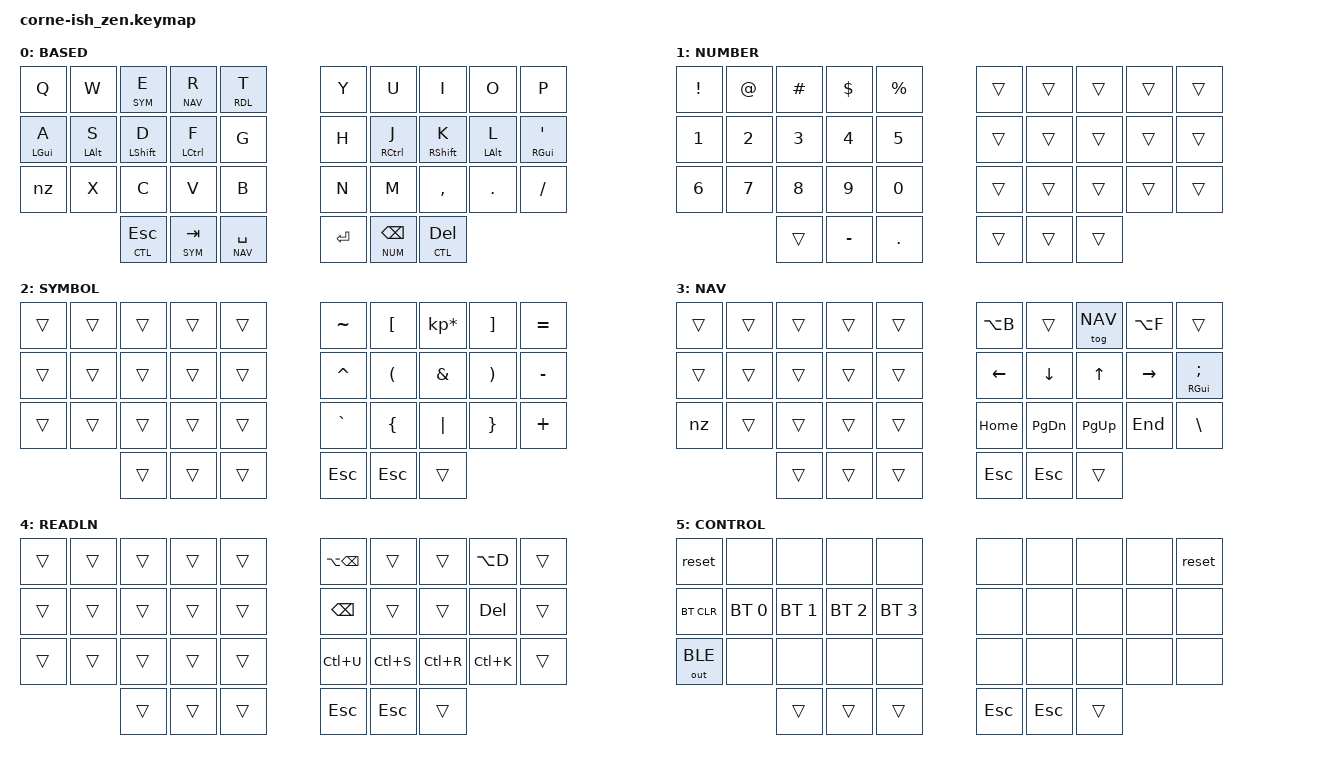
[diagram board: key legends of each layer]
/*
*
* Copyright (c) 2021 Darryl deHaan
* SPDX-License-Identifier: MIT
*
*/

#include <behaviors.dtsi>
#include <dt-bindings/zmk/keys.h>
#include <dt-bindings/zmk/bt.h>
#include <dt-bindings/zmk/outputs.h>

#define ___ &trans
#define KP_STAR KP_MULTIPLY

#define BASE 0
#define NUM 1
#define SYM 2
#define NAV 3
#define RDL 4
#define CTL 5

&kscan0 {
    debounce-period = <20>;
};

&lt {
    quick_tap_ms = <150>;
};

&caps_word {
    continue-list = <UNDERSCORE MINUS BACKSPACE DELETE HOME END LEFT RIGHT>;
};

/ {
        chosen {
            zmk,matrix_transform = &five_column_transform;
        };
};


/ {

        #include "combos.dtsi"

        behaviors {

            nz: backspace_delete {
                compatible = "zmk,behavior-mod-morph";
                label = "NAV_OR_Z";
                #binding-cells = <0>;
                bindings = <&kp Z>, <&tog NAV>;
                mods = <(MOD_RGUI)>;
            };

            hm: homerow_mods {
                compatible = "zmk,behavior-hold-tap";
                label = "HOMEROW_MODS";
                #binding-cells = <2>;
                tapping-term-ms = <180>;
                quick_tap_ms = <0>;
                flavor = "tap-preferred";
                bindings = <&kp>, <&kp>;
            };
        };

        keymap {
                compatible = "zmk,keymap";

    base_layer {
      label = "BASED";
      bindings = <
        // ╭─────────────┬──────────────┬─────────────┬─────────────┬─────────────╮   ╭─────────────┬─────────────┬─────────────┬─────────────┬─────────────╮
             &kp Q          &kp W          &lt SYM E     &lt NAV R     &lt RDL T         &kp Y        &kp U         &kp I         &kp O         &kp P
        // ├─────────────┼──────────────┼─────────────┼─────────────┼─────────────┤   ├─────────────┼─────────────┼─────────────┼─────────────┼─────────────┤
             &hm LGUI A     &hm LALT S     &hm LSHFT D   &hm LCTRL F   &kp G             &kp H        &hm RCTRL J   &hm RSHFT K   &hm LALT L    &hm RGUI SQT
        // ├─────────────┼──────────────┼─────────────┼─────────────┼─────────────┤   ├─────────────┼─────────────┼─────────────┼─────────────┼─────────────┤
             &nz            &kp X          &kp C         &kp V         &kp B             &kp N        &kp M         &kp COMMA     &kp DOT       &kp FSLH
        // ╰─────────────┴───────── ────┴─────────────┼─────────────┼─────────────┤   ├─────────────┼─────────────┼─────────────┴─────────────┴─────────────╯
                                           &lt CTL ESC   &lt SYM TAB &lt NAV SPACE       &kp RET      &lt NUM BSPC  &lt CTL DEL
        //                              ╰─────────────┴─────────────┴─────────────╯   ╰─────────────┴─────────────┴─────────────╯
      >;
    };

    number_layer {
      label = "NUMBER";
      bindings = <
        // ╭───── ───────┬──────────────┬─────────────┬─────────────┬─────────────╮   ╭─────────── ─┬─────────────┬─────────────┬─────────────┬─────────────╮
             &kp EXCL       &kp AT         &kp HASH      &kp DLLR      &kp PRCNT          ___           ___           ___           ___          ___
        // ├─────────────┼──────────────┼─────────────┼─────────────┼─────────────┤   ├─────────────┼─────────────┼─────────────┼─────────────┼─────────────┤
             &kp N1         &kp N2         &kp N3        &kp N4        &kp N5             ___           ___           ___           ___          ___
        // ├─────────────┼──────────────┼─────────────┼─────────────┼─────────────┤   ├─────────────┼─────────────┼─────────────┼─────────────┼─────────────┤
             &kp N6         &kp N7         &kp N8        &kp N9        &kp N0             ___           ___           ___           ___          ___
        // ╰─────────────┴─────────── ──┴─────────────┼─────────────┼─────────────┤   ├─────────────┼─────────────┼─────────────┴─────────────┴─────────────╯
                                            ___          &kp MINUS     &kp DOT            ___           ___           ___
        //                              ╰─────────────┴─────────────┴─────────────╯   ╰─────────────┴─────────────┴─────────────╯

      >;
    };

    symbol_layer {
      label = "SYMBOL";
      bindings = <
        // ╭─────────────┬─────────────┬─────────────┬─────────────┬─────────────╮   ╭─────────────┬─────────────┬─────────────┬─────────────┬─────────────╮
             ___           ___           ___           ___           ___               &kp TILDE     &kp LBKT      &kp KP_STAR   &kp RBKT      &kp EQUAL
        // ├─────────────┼─────────────┼─────────────┬─────────────┼─────────────┤   ├─────────────┼─────────────┼─────────────┼─────────────┼─────────────┤
             ___           ___           ___           ___           ___               &kp CARET     &kp LPAR      &kp AMPS      &kp RPAR      &kp MINUS
        // ├─────────────┼─────────────┼─────────────┬─────────────┼─────────────┤   ├─────────────┼─────────────┼─────────────┼─────────────┼─────────────┤
             ___           ___           ___           ___           ___               &kp GRAVE     &kp LBRC      &kp PIPE      &kp RBRC      &kp PLUS
        // ╰─────────────┴─────────────┼─────────────┬─────────────┼─────────────┤   ├─────────────┼─────────────┼─────────────┼─────────────┴─────────────╯
                                         ___           ___           ___               &kp ESC       &kp ESC       ___
        //                             ╰─────────────┴─────────────┴─────────────╯   ╰─────────────┴─────────────┴────── ──────╯
      >;
    };

    navigation_layer {
      label = "NAV";
      bindings = <
        // ╭─────────────┬─────────────┬─────────────┬─────────────┬─────────────╮   ╭─────────────┬─────────────┬─────────────┬─────────────┬─────────────╮
             ___           ___           ___           ___           ___               &kp LA(B)     ___           &tog NAV      &kp LA(F)     ___
        // ├─────────────┼─────────────┼─────────────┬─────────────┼─────────────┤   ├─────────────┼─────────────┼─────────────┼─────────────┼─────────────┤
             ___           ___           ___           ___           ___               &kp LEFT      &kp DOWN      &kp UP        &kp RIGHT     &hm RGUI SEMI
        // ├─────────────┼─────────────┼─────────────┬─────────────┼─────────────┤   ├─────────────┼─────────────┼─────────────┼─────────────┼─────────────┤
             &nz           ___           ___           ___           ___               &kp HOME      &kp PG_DN     &kp PG_UP     &kp END       &kp BSLH
        // ╰─────────────┴─────────────┼─────────────┬─────────────┼─────────────┤   ├─────────────┼─────────────┼─────────────┼─────────────┴─────────────╯
                                         ___           ___           ___               &kp ESC       &kp ESC       ___
        //                             ╰─────────────┴─────────────┴─────────────╯   ╰─────────────┴─────────────┴─────────────╯
      >;
    };

    readline_layer {
      label = "READLN";
      bindings = <
        // ╭─────────── ─┬─────────────┬─────────────┬─────────────┬─────────────╮   ╭──────── ────┬─────────────┬─────────────┬─────────────┬─────────────╮
             ___           ___           ___           ___           ___               &kp LA(BSPC)  ___           ___           &kp LA(D)     ___
        // ├─────────────┼─────────────┼─────────────┬─────────────┼─────────────┤   ├─────────────┼─────────────┼─────────────┼─────────────┼─────────────┤
             ___           ___           ___           ___           ___               &kp BSPC      ___           ___           &kp DEL       ___
        // ├─────────────┼─────────────┼─────────────┬─────────────┼─────────────┤   ├─────────────┼─────────────┼─────────────┼─────────────┼─────────────┤
             ___           ___           ___           ___           ___               &kp LC(U)     &kp LC(S)     &kp LC(R)     &kp LC(K)     ___
        // ╰──────── ────┴─────────────┼─────────────┬─────────────┼─────────────┤   ├─────────────┼─────────────┼─────────────┼─────────────┴─────────────╯
                                         ___           ___           ___               &kp ESC       &kp ESC       ___
        //                             ╰─────────────┴─────────────┴─────────────╯   ╰─────────────┴─────────────┴───────── ───╯
      >;
    };

    control_layer {
      label = "CONTROL";
      bindings = <
        // ╭────────────┬──────────────┬─────────────┬─────────────┬─────────────╮  ╭────────────┬─────────────┬─────────────┬─────────────┬─────────────╮
             &reset         &none         &none          &none         &none              &none        &none         &none          &none         &reset
        // ├─────────────┼──────────────┼─────────────┼─────────────┼─────────────┤   ├─────────────┼─────────────┼─────────────┼─────────────┼─────────────┤
             &bt BT_CLR     &bt BT_SEL 0  &bt BT_SEL 1   &bt BT_SEL 2  &bt BT_SEL 3       &none        &none         &none          &none         &none
        // ├─────────────┼──────────────┼─────────────┼─────────────┼─────────────┤   ├─────────────┼─────────────┼─────────────┼─────────────┼─────────────┤
             &out OUT_BLE   &none         &none          &none         &none                &none        &none         &none          &none         &none
        // ╰─────────────┴─────────────┴─────────────┼─────────────┼─────────────┤   ├─────────────┼─────────────┼─────────────┴─────────────┴─────────────╯
                                          ___           ___           ___               &kp ESC       &kp ESC       ___
        //                             ╰─────────────┴─────────────┴─────────────╯ ╰─────────────┴─────────────┴────────────╯
      >;
    };
  };
};
